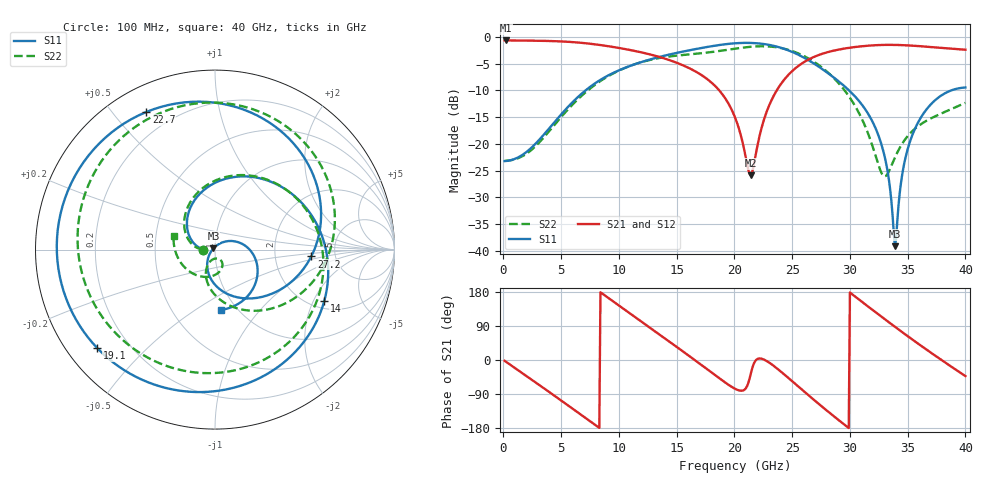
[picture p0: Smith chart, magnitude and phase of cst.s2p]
! B_s8_L1L3_stub_d300: L1→L3, through via (stub to L8), drill Ø0.3
! stackup: 8-layer 1.6 mm FR-4 (generic)
! ports: 1, 2
! CST Studio Suite 2025.5 Release from 2025-05-30, time domain (FIT, hexahedral, PBA), 154800 mesh cells, 35 s
! mesh: {'lpw': 20, 'lpb': 20, 'minstep': 0.0, 'ratio': 20}; ports: port 1 (face); port 2 (face)
! interpolated from CST's 1001 samples to the case grid
# Hz S RI R 50
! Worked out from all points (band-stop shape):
!   400 points, 100 MHz to 40 GHz, reference 50 ohm
!   highest |S21| = -0.62 dB at 200 MHz (marker M1); lowest = -25.9 dB at 21.4 GHz (marker M2)
!   |S21| within 3 dB of the highest: start of sweep to 13.36 GHz; 26.98 GHz to end of sweep
!   lowest |S11| = -39.2 dB at 33.9 GHz (marker M3), VSWR 1.02, Z = 49.1 + j0.626 ohm
!   |S11| at or under -10 dB: start of sweep to 7.101 GHz; 29.93 GHz to 38.75 GHz (8.821 GHz wide, 25.7 % of centre)
!   |S22| runs from -26.1 to -1.7 dB; largest |S21 - S12| = 1.8e-05
!   S11 on the Smith chart (normalised r, x): 100 MHz: 0.87, +0.00; 14 GHz: 2.34, -2.44; 19.1 GHz: 0.09, -0.36; 22.7 GHz: 0.11, +0.61; 27.2 GHz: 3.28, -0.35; 40 GHz: 0.85, -0.64
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1e8  -0.0689 0.000283  0.9302 -0.0345  0.9302 -0.0345  -0.0693 0.000158
2e8  -0.069 0.000567  0.9283 -0.0689  0.9283 -0.0689  -0.0693 0.000316
3.7e9  -0.1227 0.0409  0.1787 -0.9042  0.1787 -0.9042  -0.1198 0.0227
6.8e9  -0.1149 0.2738  -0.7349 -0.4906  -0.7349 -0.4905  -0.1497 0.2415
1.06e10  0.4003 0.3309  -0.505 0.5822  -0.505 0.5822  0.3985 0.3325
1.34e10  0.6302 -0.1502  0.226 0.6169  0.226 0.6169  0.5705 -0.2775
1.4e10  0.6091 -0.2854  0.3448 0.5248  0.3447 0.5248  0.4941 -0.4227
1.65e10  0.1733 -0.748  0.4853 0.0113  0.4853 0.0113  -0.1558 -0.678
1.91e10  -0.6549 -0.5497  0.1501 -0.2331  0.1501 -0.2331  -0.7408 -0.1318
2.01e10  -0.8549 -0.192  0.0397 -0.167  0.0397 -0.167  -0.7493 0.2197
2.14e10  -0.8005 0.3711  0.0397 -0.0316  0.0398 -0.0316  -0.5089 0.6326
2.27e10  -0.3831 0.7665  0.1874 -0.00339  0.1874 -0.0034  -0.0539 0.8185
2.48e10  0.4152 0.6154  0.2904 -0.3539  0.2904 -0.3539  0.5929 0.4636
2.67e10  0.5773 0.0748  -0.1153 -0.6282  -0.1153 -0.6282  0.5957 -0.106
2.72e10  0.5362 -0.0382  -0.2658 -0.6188  -0.2658 -0.6188  0.5156 -0.2112
3.03e10  0.1168 -0.2641  -0.7944 0.1258  -0.7944 0.1258  -0.0103 -0.2405
3.34e10  -0.0325 -0.03  -0.1324 0.8361  -0.1324 0.8361  0.0213 -0.0517
3.39e10  -0.00895 0.00637  0.0351 0.8447  0.0351 0.8448  0.0366 -0.0648
3.46e10  0.0409 0.04  0.2617 0.7991  0.2617 0.7992  0.0405 -0.0949
3.56e10  0.1295 0.0413  0.5358 0.6331  0.5358 0.6331  0.00651 -0.1375
3.77e10  0.2366 -0.1372  0.7937 0.0672  0.7937 0.0672  -0.1447 -0.1199
4e10  0.0339 -0.3357  0.5629 -0.5149  0.5629 -0.5149  -0.2306 0.0734
